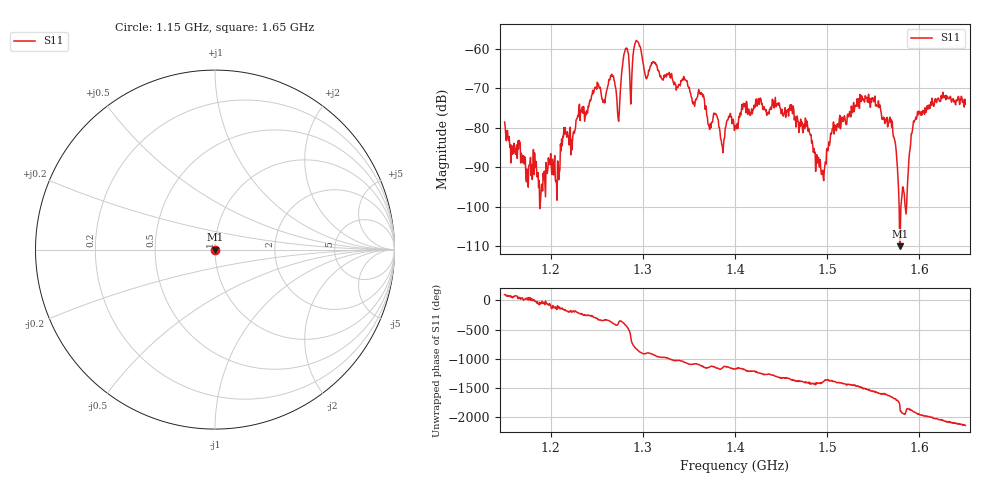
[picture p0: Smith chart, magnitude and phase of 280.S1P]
! C:\Users\rflab\Downloads\Lab5_KD_ZW\Q2\280.S1P
! Touchstone 1.1 file saved by VNA.EXE V1.65 (www.ke5fx.com/gpib/readme.htm)
! 11/12/2024 1:30:31 AM
!  Source: HEWLETT PACKARD,8753D,0,6.14
!  Min freq: 1.150000E+009 Hz
!  Max freq: 1.650000E+009 Hz
!  Points: 801
!  Params: S21
# GHZ S RI R 50
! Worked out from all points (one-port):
!   801 points, 1.15 GHz to 1.65 GHz, reference 50 ohm
!   lowest |S11| = -110.0 dB at 1.579 GHz (marker M1), VSWR 1.00, Z = 50 + j0.0001 ohm
!   |S11| at or under -10 dB: start of sweep to end of sweep
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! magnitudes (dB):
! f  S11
! 1.15 GHz  -78.5
! 1.212 GHz  -84.6
! 1.239 GHz  -76.7
! 1.25 GHz  -70.2
! 1.258 GHz  -73.0
! 1.266 GHz  -66.9
! 1.272 GHz  -75.7
! 1.275 GHz  -73.2
! 1.281 GHz  -60.4
! 1.288 GHz  -71.0
! 1.293 GHz  -57.9
! 1.304 GHz  -67.6
! 1.312 GHz  -63.6
! 1.337 GHz  -69.7
! 1.346 GHz  -67.6
! 1.356 GHz  -74.0
! 1.363 GHz  -71.0
! 1.373 GHz  -79.0
! 1.4 GHz  -79.9
! 1.426 GHz  -72.6
! 1.462 GHz  -76.4
! 1.482 GHz  -81.9
! 1.525 GHz  -76.1
! 1.544 GHz  -73.5
! 1.579 GHz  -110.0
! 1.587 GHz  -92.9
! 1.626 GHz  -71.0
! 1.65 GHz  -74.0
